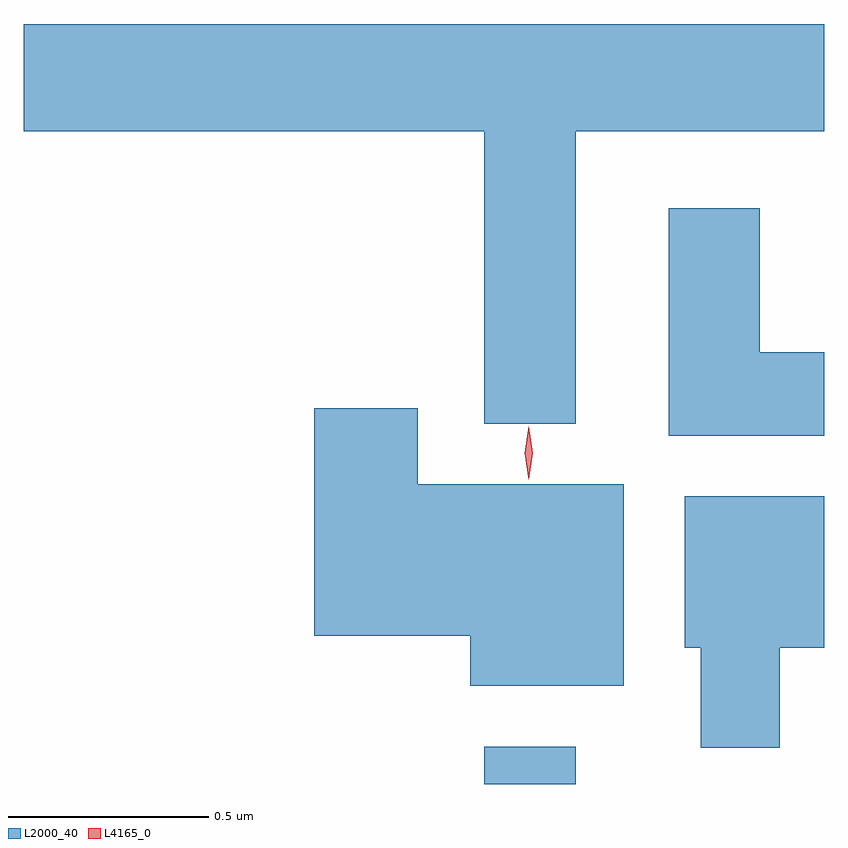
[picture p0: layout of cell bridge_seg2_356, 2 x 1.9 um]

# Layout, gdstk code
import gdstk
lib = gdstk.Library(unit=1e-6, precision=1e-09)
def R(c, l, rs):  # rectangles x0, y0, x1, y1
    for r in rs: c.add(gdstk.rectangle(r[:2], r[2:], *l))
def P(c, l, *ps):  # polygons
    for p in ps: c.add(gdstk.Polygon(p, *l))
L2000_40 = (2000, 40)
L4165_0 = (4165, 0)

bridge_seg2_356 = lib.new_cell('bridge_seg2_356')
R(bridge_seg2_356, L2000_40, [(423.631,980.086,423.859,980.179)])
P(bridge_seg2_356, L2000_40, [(423.859,981.716),(424.48,981.716),(424.48,981.984),(422.48,981.984),(422.48,981.716),(423.631,981.716),(423.631,980.986),(423.859,980.986)],
  [(424.48,981.164),(424.319,981.164),(424.319,981.524),(424.091,981.524),(424.091,980.956),(424.48,980.956)],
  [(423.979,980.834),(423.464,980.834),(423.464,981.024),(423.206,981.024),(423.206,980.456),(423.596,980.456),(423.596,980.331),(423.979,980.331)],
  [(424.369,980.426),(424.48,980.426),(424.48,980.804),(424.131,980.804),(424.131,980.426),(424.171,980.426),(424.171,980.176),(424.369,980.176)])
P(bridge_seg2_356, L4165_0, [(423.741,980.846),(423.732,980.912),(423.741,980.979),(423.742,980.979),(423.742,980.979),(423.752,980.912),(423.742,980.846),(423.742,980.846)])

lib.write_gds('bridge_seg2_356.gds')
